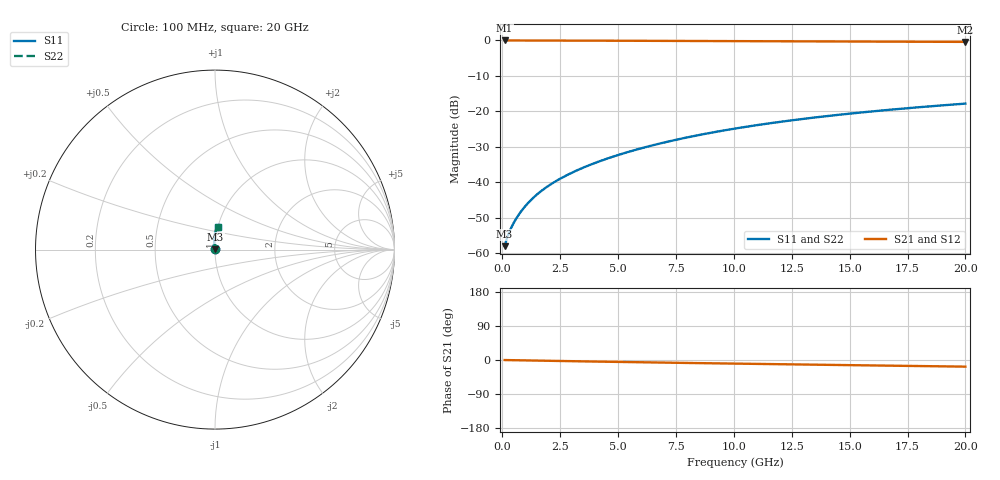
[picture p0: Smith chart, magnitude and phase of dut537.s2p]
! Touchstone file exported from HFSS 2024.1.0
!  File:  C:/UserFiles/LocalFiles/RDL_TSV_Batchsim/temp_RDL_top_537_1779680424.aedt
!  Generated:  11:42:26 AM May 25, 2026
!  Design:  RDL_top
!  Project:  temp_RDL_top_537_1779680424
!  Setup:  Setup1
!  Solution:  Sweep
! Variables:
!  dtsv = 10.80580581um
!  hbump = 3um
!  htsv = 81.48um
!  ldown = 100um
!  lrdl = 279.42um
!  p = 40
!  p1 = 40.27um
!  rhole = 1um
!  t = 450um
!  tdown = 3.915915916um
!  trdl = 4.12um
!  wdown = 15.38538539um
!  wrdl = 26.71um
# GHz S MA R 50.000000
! Terminal data exported
! Port[1] = Box2_T1
! Port[2] = Box2_T2
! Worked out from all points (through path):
!   200 points, 100 MHz to 20 GHz, reference 50 ohm
!   highest |S21| = -0.01 dB at 100 MHz (marker M1); lowest = -0.4 dB at 20 GHz (marker M2)
!   group delay of S21, straight-line fit = 2.4 ps
!   lowest |S11| = -57.9 dB at 100 MHz (marker M3), VSWR 1.00, Z = 50.1 + j0.0582 ohm
!   |S11| at or under -10 dB: start of sweep to end of sweep
!   |S22| runs from -57.9 to -17.8 dB; largest |S21 - S12| = 3.5e-15
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0.1  0.001267 27.3  0.9989 -0.1  0.9989 -0.1  0.001267 27.3
! Gamma 0 0 0 0
! Port Impedance 50 0 50 0
0.2  0.001632 41.3  0.9988 -0.2  0.9988 -0.2  0.001632 41.3
0.3  0.001998 49.4  0.9986 -0.3  0.9986 -0.3  0.001998 49.4
0.5  0.002719 60.0  0.9985 -0.5  0.9985 -0.5  0.002719 60.0
0.8  0.003865 69.7  0.9982 -0.9  0.9982 -0.9  0.003865 69.7
1  0.00467 74.0  0.9981 -1.1  0.9981 -1.1  0.00467 74.0
1.2  0.0055 77.1  0.9979 -1.3  0.9979 -1.3  0.0055 77.1
1.4  0.006348 79.7  0.9977 -1.5  0.9977 -1.5  0.006348 79.7
1.7  0.007652 82.6  0.9973 -1.8  0.9973 -1.8  0.007652 82.6
2.2  0.009899 86.1  0.9965 -2.3  0.9965 -2.3  0.009899 86.1
2.8  0.01272 89.1  0.9954 -2.9  0.9954 -2.9  0.01272 89.1
3.5  0.01619 91.5  0.9939 -3.6  0.9939 -3.6  0.01619 91.5
4.2  0.01987 93.3  0.9922 -4.3  0.9922 -4.3  0.01987 93.2
5  0.02433 94.6  0.99 -5.1  0.99 -5.1  0.02433 94.6
5.9  0.02967 95.5  0.9875 -5.9  0.9875 -5.9  0.02967 95.5
6.8  0.0353 95.8  0.9849 -6.7  0.9849 -6.7  0.0353 95.8
8.4  0.0459 95.5  0.9803 -8.2  0.9803 -8.2  0.0459 95.5
10.1  0.05774 94.4  0.9757 -9.6  0.9757 -9.6  0.05773 94.4
11.7  0.06918 92.9  0.9716 -10.9  0.9716 -10.9  0.06918 92.9
13.4  0.08149 91.1  0.9675 -12.3  0.9675 -12.3  0.08148 91.1
16.7  0.1054 87.4  0.9604 -14.9  0.9604 -14.9  0.1053 87.4
20  0.1288 83.7  0.9538 -17.5  0.9538 -17.5  0.1288 83.7
